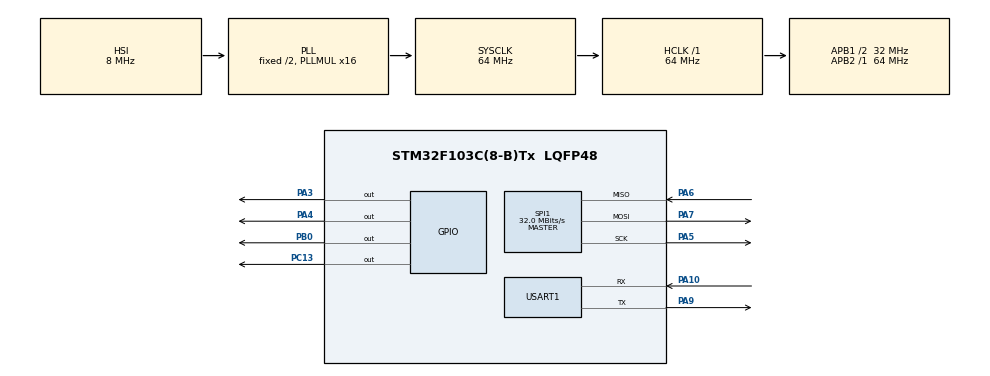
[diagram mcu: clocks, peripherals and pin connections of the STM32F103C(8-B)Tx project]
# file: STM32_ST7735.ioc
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FREERTOS.Tasks01=defaultTask,0,128,StartDefaultTask,Default,NULL,Dynamic,NULL,NULL
Mcu.Family=STM32F1
Mcu.Name=STM32F103C(8-B)Tx
Mcu.Package=LQFP48
NVIC.PriorityGroup=NVIC_PRIORITYGROUP_4
NVIC.TIM1_UP_IRQn=true\:15\:0\:false\:false\:true\:false\:false\:true\:true
NVIC.TimeBase=TIM1_UP_IRQn
NVIC.TimeBaseIP=TIM1
PA10.Mode=Asynchronous
PA10.Signal=USART1_RX
PA13.Mode=Serial_Wire
PA13.Signal=SYS_JTMS-SWDIO
PA14.Mode=Serial_Wire
PA14.Signal=SYS_JTCK-SWCLK
PA3.Signal=GPIO_Output
PA4.Signal=GPIO_Output
PA5.Mode=Full_Duplex_Master
PA5.Signal=SPI1_SCK
PA6.Mode=Full_Duplex_Master
PA6.Signal=SPI1_MISO
PA7.Mode=Full_Duplex_Master
PA7.Signal=SPI1_MOSI
PA9.Mode=Asynchronous
PA9.Signal=USART1_TX
PB0.Signal=GPIO_Output
PC13-TAMPER-RTC.Signal=GPIO_Output
PC14-OSC32_IN.Mode=LSE-External-Oscillator
PC14-OSC32_IN.Signal=RCC_OSC32_IN
PC15-OSC32_OUT.Mode=LSE-External-Oscillator
PC15-OSC32_OUT.Signal=RCC_OSC32_OUT
ProjectManager.HeapSize=0x200
ProjectManager.StackSize=0x400
ProjectManager.TargetToolchain=STM32CubeIDE
RCC.AHBFreq_Value=64000000
RCC.APB1CLKDivider=RCC_HCLK_DIV2
RCC.APB1Freq_Value=32000000
RCC.APB1TimFreq_Value=64000000
RCC.APB2Freq_Value=64000000
RCC.APB2TimFreq_Value=64000000
RCC.HCLKFreq_Value=64000000
RCC.PLLMUL=RCC_PLL_MUL16
RCC.RTCClockSelection=RCC_RTCCLKSOURCE_LSE
RCC.SYSCLKFreq_VALUE=64000000
RCC.SYSCLKSource=RCC_SYSCLKSOURCE_PLLCLK
RCC.USBFreq_Value=64000000
SPI1.BaudRatePrescaler=SPI_BAUDRATEPRESCALER_2
SPI1.CalculateBaudRate=32.0 MBits/s
SPI1.Direction=SPI_DIRECTION_2LINES
SPI1.Mode=SPI_MODE_MASTER
SPI1.VirtualType=VM_MASTER
USART1.VirtualMode=VM_ASYNC
VP_FREERTOS_VS_CMSIS_V1.Mode=CMSIS_V1
VP_RTC_VS_RTC_Activate.Mode=RTC_Enabled
VP_RTC_VS_RTC_Calendar.Mode=RTC_Calendar
VP_SYS_VS_tim1.Mode=TIM1
board=custom

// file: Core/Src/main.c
/* USER CODE BEGIN Header */
/**
  ******************************************************************************
  * @file           : main.c
  * @brief          : Main program body
  ******************************************************************************
  * @attention
  *
  * Copyright (c) 2023 STMicroelectronics.
  * All rights reserved.
  *
  * This software is licensed under terms that can be found in the LICENSE file
  * in the root directory of this software component.
  * If no LICENSE file comes with this software, it is provided AS-IS.
  *
  ******************************************************************************
  */
/* USER CODE END Header */
#include "main.h"
#include "cmsis_os.h"

/* USER CODE BEGIN Includes */
#include <stdio.h>
#include "st7735.h"
#include "images.h"
#include "date.h"
/* USER CODE END Includes */

RTC_HandleTypeDef hrtc;

SPI_HandleTypeDef hspi1;

UART_HandleTypeDef huart1;

osThreadId defaultTaskHandle;
osThreadId defaultTaskInterfaceHandle;

void SystemClock_Config(void);
static void MX_GPIO_Init(void);
static void MX_SPI1_Init(void);
static void MX_USART1_UART_Init(void);
static void MX_RTC_Init(void);

void StartDefaultTask(void const * argument);
void InterfaceUser(void const * argument);

/* USER CODE BEGIN PFP */
#define PUTCHAR_PROTOTYPE int __io_putchar(int ch)
/* USER CODE END PFP */

/* USER CODE BEGIN 0 */
void init() {
    ST7735_Init();

    const char ready[] = "Ready!\r\n";
    HAL_UART_Transmit(&huart1, (uint8_t*)ready, sizeof(ready)-1, HAL_MAX_DELAY);
}

void loop() {
    // Check border
    ST7735_FillScreen(ST7735_BLACK);

    for(int x = 0; x < ST7735_WIDTH; x++) {
        ST7735_DrawPixel(x, 0, ST7735_RED);
        ST7735_DrawPixel(x, ST7735_HEIGHT-1, ST7735_RED);
    }

    for(int y = 0; y < ST7735_HEIGHT; y++) {
        ST7735_DrawPixel(0, y, ST7735_RED);
        ST7735_DrawPixel(ST7735_WIDTH-1, y, ST7735_RED);
    }

    HAL_Delay(3000);

    // Check fonts
    ST7735_FillScreen(ST7735_BLACK);
    ST7735_WriteString(0, 0, "Font_7x10, red on black, lorem ipsum dolor sit amet", Font_7x10, ST7735_RED, ST7735_BLACK);
    ST7735_WriteString(0, 3*10, "Font_11x18, green, lorem ipsum", Font_11x18, ST7735_GREEN, ST7735_BLACK);
    ST7735_WriteString(0, 3*10+3*18, "Font_16x26", Font_16x26, ST7735_BLUE, ST7735_BLACK);
    HAL_Delay(2000);

    // Check colors
    ST7735_FillScreen(ST7735_BLACK);
    ST7735_WriteString(0, 0, "BLACK", Font_11x18, ST7735_WHITE, ST7735_BLACK);
    HAL_Delay(500);

    ST7735_FillScreen(ST7735_BLUE);
    ST7735_WriteString(0, 0, "BLUE", Font_11x18, ST7735_BLACK, ST7735_BLUE);
    HAL_Delay(500);

    ST7735_FillScreen(ST7735_RED);
    ST7735_WriteString(0, 0, "RED", Font_11x18, ST7735_BLACK, ST7735_RED);
    HAL_Delay(500);

    ST7735_FillScreen(ST7735_GREEN);
    ST7735_WriteString(0, 0, "GREEN", Font_11x18, ST7735_BLACK, ST7735_GREEN);
    HAL_Delay(500);

    ST7735_FillScreen(ST7735_CYAN);
    ST7735_WriteString(0, 0, "CYAN", Font_11x18, ST7735_BLACK, ST7735_CYAN);
    HAL_Delay(500);

    ST7735_FillScreen(ST7735_MAGENTA);
    ST7735_WriteString(0, 0, "MAGENTA", Font_11x18, ST7735_BLACK, ST7735_MAGENTA);
    HAL_Delay(500);

    ST7735_FillScreen(ST7735_YELLOW);
    ST7735_WriteString(0, 0, "YELLOW", Font_11x18, ST7735_BLACK, ST7735_YELLOW);
    HAL_Delay(500);

    ST7735_FillScreen(ST7735_WHITE);
    ST7735_WriteString(0, 0, "WHITE", Font_11x18, ST7735_BLACK, ST7735_WHITE);
    HAL_Delay(500);

}
const uint16_t data[] = {

};
/* USER CODE END 0 */
int main(void)
{

  /* MCU Configuration--------------------------------------------------------*/

  /* Reset of all peripherals, Initializes the Flash interface and the Systick. */
  HAL_Init();

  /* Configure the system clock */
  SystemClock_Config();

  /* Initialize all configured peripherals */
  MX_GPIO_Init();
  MX_SPI1_Init();
  MX_USART1_UART_Init();
  MX_RTC_Init();

  /* Create the thread(s) */
  /* definition and creation of defaultTask */
  osThreadDef(defaultTask, StartDefaultTask, osPriorityNormal, 0, 256);
  defaultTaskHandle = osThreadCreate(osThread(defaultTask), NULL);

  /* USER CODE BEGIN RTOS_THREADS */
  osThreadDef(userTask, InterfaceUser, osPriorityNormal, 0, 256);
  defaultTaskInterfaceHandle = osThreadCreate(osThread(userTask), NULL);
  /* USER CODE END RTOS_THREADS */

  /* Start scheduler */
  osKernelStart();

  /* We should never get here as control is now taken by the scheduler */
  /* Infinite loop */
  /* USER CODE BEGIN WHILE */
  /* Create Start thread */

  /* Start scheduler */
  while (1)
  {
    /* USER CODE END WHILE */

  }
}

void SystemClock_Config(void)
{
  RCC_OscInitTypeDef RCC_OscInitStruct = {0};
  RCC_ClkInitTypeDef RCC_ClkInitStruct = {0};
  RCC_PeriphCLKInitTypeDef PeriphClkInit = {0};

  /** Initializes the RCC Oscillators according to the specified parameters
  * in the RCC_OscInitTypeDef structure.
  */
  RCC_OscInitStruct.OscillatorType = RCC_OSCILLATORTYPE_HSI|RCC_OSCILLATORTYPE_LSE;
  RCC_OscInitStruct.LSEState = RCC_LSE_ON;
  RCC_OscInitStruct.HSIState = RCC_HSI_ON;
  RCC_OscInitStruct.HSICalibrationValue = RCC_HSICALIBRATION_DEFAULT;
  RCC_OscInitStruct.PLL.PLLState = RCC_PLL_ON;
  RCC_OscInitStruct.PLL.PLLSource = RCC_PLLSOURCE_HSI_DIV2;
  RCC_OscInitStruct.PLL.PLLMUL = RCC_PLL_MUL16;
  if (HAL_RCC_OscConfig(&RCC_OscInitStruct) != HAL_OK)
  {
    Error_Handler();
  }

  /** Initializes the CPU, AHB and APB buses clocks
  */
  RCC_ClkInitStruct.ClockType = RCC_CLOCKTYPE_HCLK|RCC_CLOCKTYPE_SYSCLK
                              |RCC_CLOCKTYPE_PCLK1|RCC_CLOCKTYPE_PCLK2;
  RCC_ClkInitStruct.SYSCLKSource = RCC_SYSCLKSOURCE_PLLCLK;
  RCC_ClkInitStruct.AHBCLKDivider = RCC_SYSCLK_DIV1;
  RCC_ClkInitStruct.APB1CLKDivider = RCC_HCLK_DIV2;
  RCC_ClkInitStruct.APB2CLKDivider = RCC_HCLK_DIV1;

  if (HAL_RCC_ClockConfig(&RCC_ClkInitStruct, FLASH_LATENCY_2) != HAL_OK)
  {
    Error_Handler();
  }
  PeriphClkInit.PeriphClockSelection = RCC_PERIPHCLK_RTC;
  PeriphClkInit.RTCClockSelection = RCC_RTCCLKSOURCE_LSE;
  if (HAL_RCCEx_PeriphCLKConfig(&PeriphClkInit) != HAL_OK)
  {
    Error_Handler();
  }
}

static void MX_RTC_Init(void)
{

  RTC_TimeTypeDef sTime = {0};
  RTC_DateTypeDef DateToUpdate = {0};

  /** Initialize RTC Only
  */
  hrtc.Instance = RTC;
  hrtc.Init.AsynchPrediv = RTC_AUTO_1_SECOND;
  hrtc.Init.OutPut = RTC_OUTPUTSOURCE_ALARM;
  if (HAL_RTC_Init(&hrtc) != HAL_OK)
  {
    Error_Handler();
  }

  /** Initialize RTC and set the Time and Date
  */
  sTime.Hours = 0x0;
  sTime.Minutes = 0x0;
  sTime.Seconds = 0x0;

  if (HAL_RTC_SetTime(&hrtc, &sTime, RTC_FORMAT_BCD) != HAL_OK)
  {
    Error_Handler();
  }
  DateToUpdate.WeekDay = RTC_WEEKDAY_MONDAY;
  DateToUpdate.Month = RTC_MONTH_JANUARY;
  DateToUpdate.Date = 0x1;
  DateToUpdate.Year = 0x0;

  if (HAL_RTC_SetDate(&hrtc, &DateToUpdate, RTC_FORMAT_BCD) != HAL_OK)
  {
    Error_Handler();
  }

}

static void MX_SPI1_Init(void)
{

  /* SPI1 parameter configuration*/
  hspi1.Instance = SPI1;
  hspi1.Init.Mode = SPI_MODE_MASTER;
  hspi1.Init.Direction = SPI_DIRECTION_2LINES;
  hspi1.Init.DataSize = SPI_DATASIZE_8BIT;
  hspi1.Init.CLKPolarity = SPI_POLARITY_LOW;
  hspi1.Init.CLKPhase = SPI_PHASE_1EDGE;
  hspi1.Init.NSS = SPI_NSS_SOFT;
  hspi1.Init.BaudRatePrescaler = SPI_BAUDRATEPRESCALER_2;
  hspi1.Init.FirstBit = SPI_FIRSTBIT_MSB;
  hspi1.Init.TIMode = SPI_TIMODE_DISABLE;
  hspi1.Init.CRCCalculation = SPI_CRCCALCULATION_DISABLE;
  hspi1.Init.CRCPolynomial = 10;
  if (HAL_SPI_Init(&hspi1) != HAL_OK)
  {
    Error_Handler();
  }

}

static void MX_USART1_UART_Init(void)
{

  huart1.Instance = USART1;
  huart1.Init.BaudRate = 115200;
  huart1.Init.WordLength = UART_WORDLENGTH_8B;
  huart1.Init.StopBits = UART_STOPBITS_1;
  huart1.Init.Parity = UART_PARITY_NONE;
  huart1.Init.Mode = UART_MODE_TX_RX;
  huart1.Init.HwFlowCtl = UART_HWCONTROL_NONE;
  huart1.Init.OverSampling = UART_OVERSAMPLING_16;
  if (HAL_UART_Init(&huart1) != HAL_OK)
  {
    Error_Handler();
  }

}

static void MX_GPIO_Init(void)
{
  GPIO_InitTypeDef GPIO_InitStruct = {0};

  /* GPIO Ports Clock Enable */
  __HAL_RCC_GPIOC_CLK_ENABLE();
  __HAL_RCC_GPIOA_CLK_ENABLE();
  __HAL_RCC_GPIOB_CLK_ENABLE();

  /*Configure GPIO pin Output Level */
  HAL_GPIO_WritePin(GPIOC, GPIO_PIN_13, GPIO_PIN_RESET);

  /*Configure GPIO pin Output Level */
  HAL_GPIO_WritePin(GPIOA, GPIO_PIN_3|GPIO_PIN_4, GPIO_PIN_RESET);

  /*Configure GPIO pin Output Level */
  HAL_GPIO_WritePin(GPIOB, GPIO_PIN_0, GPIO_PIN_RESET);

  /*Configure GPIO pin : PC13 */
  GPIO_InitStruct.Pin = GPIO_PIN_13;
  GPIO_InitStruct.Mode = GPIO_MODE_OUTPUT_PP;
  GPIO_InitStruct.Pull = GPIO_NOPULL;
  GPIO_InitStruct.Speed = GPIO_SPEED_FREQ_LOW;
  HAL_GPIO_Init(GPIOC, &GPIO_InitStruct);

  /*Configure GPIO pins : PA3 PA4 */
  GPIO_InitStruct.Pin = GPIO_PIN_3|GPIO_PIN_4;
  GPIO_InitStruct.Mode = GPIO_MODE_OUTPUT_PP;
  GPIO_InitStruct.Pull = GPIO_NOPULL;
  GPIO_InitStruct.Speed = GPIO_SPEED_FREQ_LOW;
  HAL_GPIO_Init(GPIOA, &GPIO_InitStruct);

  /*Configure GPIO pin : PB0 */
  GPIO_InitStruct.Pin = GPIO_PIN_0;
  GPIO_InitStruct.Mode = GPIO_MODE_OUTPUT_PP;
  GPIO_InitStruct.Pull = GPIO_NOPULL;
  GPIO_InitStruct.Speed = GPIO_SPEED_FREQ_LOW;
  HAL_GPIO_Init(GPIOB, &GPIO_InitStruct);

}

/* USER CODE BEGIN 4 */
PUTCHAR_PROTOTYPE
{
  /* Place your implementation of fputc here */
  /* e.g. write a character to the USART1 and Loop until the end of transmission */
  HAL_UART_Transmit(&huart1, (uint8_t *)&ch, 1, 0xFFFF);

  return ch;
}
/* USER CODE END 4 */

void StartDefaultTask(void const * argument)
{
  /* USER CODE BEGIN 5 */
  /* Infinite loop */
  char monthDay[20];
  char time[20];

  init();
  ST7735_FillScreen(ST7735_WHITE);
  setDate(2023, 3, 5, 15, 5, 0);
  ST7735_DrawImage(0, 0, 128, 128, test_img_128x128);
  for(;;)
  {
	  getDate(monthDay, time);
	  ST7735_WriteString(3 * ST7735_WIDTH / 4 - 30, ST7735_HEIGHT / 7, monthDay, Font_7x10, ST7735_BLACK, ST7735_WHITE);
	  ST7735_WriteString(3 * ST7735_WIDTH / 4 - 30, ST7735_HEIGHT / 7 + 20, time, Font_7x10, ST7735_BLACK, ST7735_WHITE);
  }
  /* USER CODE END 5 */
}
void InterfaceUser(void const * argument)
{
	for(;;)
	{
		osDelay(1000);
		printf("\rHi\n");
	}
}
void HAL_TIM_PeriodElapsedCallback(TIM_HandleTypeDef *htim)
{
  if (htim->Instance == TIM1) {
    HAL_IncTick();
  }
}

void Error_Handler(void)
{
  __disable_irq();
  while (1)
  {
  }
}
